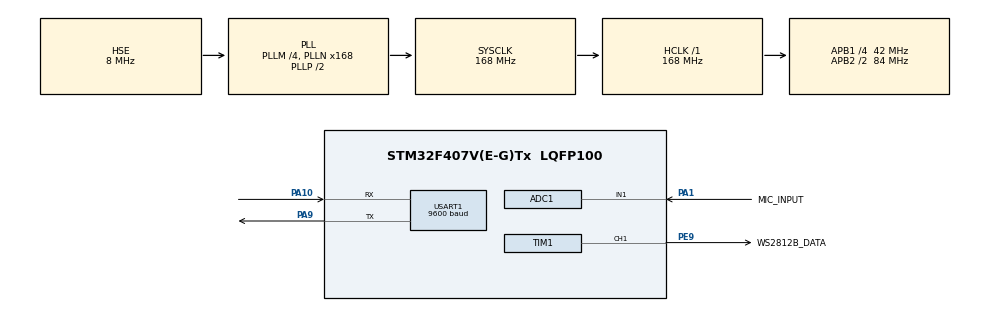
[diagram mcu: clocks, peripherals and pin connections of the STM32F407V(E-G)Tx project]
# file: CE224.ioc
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ADC1.Channel-0\#ChannelRegularConversion=ADC_CHANNEL_1
ADC1.NbrOfConversion=1
ADC1.NbrOfConversionFlag=1
ADC1.Rank-0\#ChannelRegularConversion=1
ADC1.SamplingTime-0\#ChannelRegularConversion=ADC_SAMPLETIME_15CYCLES
ADC1.master=1
Dma.ADC1.0.Direction=DMA_PERIPH_TO_MEMORY
Dma.ADC1.0.FIFOMode=DMA_FIFOMODE_DISABLE
Dma.ADC1.0.Instance=DMA2_Stream0
Dma.ADC1.0.MemDataAlignment=DMA_MDATAALIGN_HALFWORD
Dma.ADC1.0.MemInc=DMA_MINC_ENABLE
Dma.ADC1.0.Mode=DMA_CIRCULAR
Dma.ADC1.0.PeriphDataAlignment=DMA_PDATAALIGN_HALFWORD
Dma.ADC1.0.PeriphInc=DMA_PINC_DISABLE
Dma.ADC1.0.Priority=DMA_PRIORITY_LOW
Dma.Request0=ADC1
Dma.Request1=TIM1_CH1
Dma.Request2=USART1_TX
Dma.TIM1_CH1.1.Direction=DMA_MEMORY_TO_PERIPH
Dma.TIM1_CH1.1.FIFOMode=DMA_FIFOMODE_DISABLE
Dma.TIM1_CH1.1.Instance=DMA2_Stream1
Dma.TIM1_CH1.1.MemDataAlignment=DMA_MDATAALIGN_WORD
Dma.TIM1_CH1.1.MemInc=DMA_MINC_ENABLE
Dma.TIM1_CH1.1.Mode=DMA_NORMAL
Dma.TIM1_CH1.1.PeriphDataAlignment=DMA_PDATAALIGN_WORD
Dma.TIM1_CH1.1.PeriphInc=DMA_PINC_DISABLE
Dma.TIM1_CH1.1.Priority=DMA_PRIORITY_LOW
Dma.USART1_TX.2.Direction=DMA_MEMORY_TO_PERIPH
Dma.USART1_TX.2.FIFOMode=DMA_FIFOMODE_DISABLE
Dma.USART1_TX.2.Instance=DMA2_Stream7
Dma.USART1_TX.2.MemDataAlignment=DMA_MDATAALIGN_BYTE
Dma.USART1_TX.2.MemInc=DMA_MINC_ENABLE
Dma.USART1_TX.2.Mode=DMA_NORMAL
Dma.USART1_TX.2.PeriphDataAlignment=DMA_PDATAALIGN_BYTE
Dma.USART1_TX.2.PeriphInc=DMA_PINC_DISABLE
Dma.USART1_TX.2.Priority=DMA_PRIORITY_HIGH
Mcu.Family=STM32F4
Mcu.Name=STM32F407V(E-G)Tx
Mcu.Package=LQFP100
NVIC.ADC_IRQn=true\:0\:0\:false\:false\:true\:true\:true\:true
NVIC.DMA2_Stream0_IRQn=true\:0\:0\:false\:false\:true\:false\:true\:true
NVIC.DMA2_Stream1_IRQn=true\:0\:0\:false\:false\:true\:false\:true\:true
NVIC.DMA2_Stream7_IRQn=true\:0\:0\:false\:false\:true\:false\:true\:true
NVIC.PriorityGroup=NVIC_PRIORITYGROUP_4
NVIC.USART1_IRQn=true\:0\:0\:false\:false\:true\:true\:true\:true
PA1.GPIO_Label=MIC_INPUT
PA1.Signal=ADCx_IN1
PA10.Mode=Asynchronous
PA10.Signal=USART1_RX
PA13.Mode=Serial_Wire
PA13.Signal=SYS_JTMS-SWDIO
PA14.Mode=Serial_Wire
PA14.Signal=SYS_JTCK-SWCLK
PA9.Mode=Asynchronous
PA9.Signal=USART1_TX
PE9.GPIO_Label=WS2812B_DATA
PE9.Signal=S_TIM1_CH1
PH0-OSC_IN.Mode=HSE-External-Oscillator
PH0-OSC_IN.Signal=RCC_OSC_IN
PH1-OSC_OUT.Mode=HSE-External-Oscillator
PH1-OSC_OUT.Signal=RCC_OSC_OUT
ProjectManager.HeapSize=0x200
ProjectManager.StackSize=0x400
ProjectManager.TargetToolchain=STM32CubeIDE
RCC.48MHZClocksFreq_Value=84000000
RCC.AHBFreq_Value=168000000
RCC.APB1CLKDivider=RCC_HCLK_DIV4
RCC.APB1Freq_Value=42000000
RCC.APB1TimFreq_Value=84000000
RCC.APB2CLKDivider=RCC_HCLK_DIV2
RCC.APB2Freq_Value=84000000
RCC.APB2TimFreq_Value=168000000
RCC.CortexFreq_Value=168000000
RCC.HCLKFreq_Value=168000000
RCC.HSE_VALUE=8000000
RCC.HSI_VALUE=16000000
RCC.LSE_VALUE=32768
RCC.PLLM=4
RCC.PLLN=168
RCC.PLLSourceVirtual=RCC_PLLSOURCE_HSE
RCC.SYSCLKFreq_VALUE=168000000
RCC.SYSCLKSource=RCC_SYSCLKSOURCE_PLLCLK
RCC.VCOOutputFreq_Value=336000000
SH.ADCx_IN1.0=ADC1_IN1,IN1
SH.S_TIM1_CH1.0=TIM1_CH1,PWM Generation1 CH1
TIM1.Channel-PWM\ Generation1\ CH1=TIM_CHANNEL_1
TIM1.Period=209
USART1.BaudRate=9600
USART1.VirtualMode=VM_ASYNC
VP_TIM1_VS_ClockSourceINT.Mode=Internal
board=custom

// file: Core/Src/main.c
/* USER CODE BEGIN Header */
/**
  ******************************************************************************
  * @file           : main.c
  * @brief          : Audio Visualizer v2 - Sửa lỗi mất cảm biến âm thanh
  ******************************************************************************
  */
/* USER CODE END Header */

#include "main.h"
#include <string.h>
#include <math.h>
#include <stdlib.h>
#include <usart.h>

/* USER CODE BEGIN PD */
#define NUMPIXELS 60
#define LED_DATA_SIZE (NUMPIXELS * 24)
#define RESET_SLOTS_BEGIN (50)
#define RESET_SLOTS_END (50)
#define WS2812_FREQ (800000) // 800khz
#define TIMER_CLOCK_FREQ (168000000) // 168MHz for TIM1 (APB2)
#define TIMER_PERIOD ((TIMER_CLOCK_FREQ / WS2812_FREQ) - 1)

#define NUM_EFFECTS 4

// LED Visualizer
#define LED_DATA_HEADER 0xAA
#define LED_DATA_FOOTER 0x55
#define SEND_LED_DATA_INTERVAL 20
/* USER CODE END PD */

extern ADC_HandleTypeDef hadc1;
extern DMA_HandleTypeDef hdma_adc1;

extern TIM_HandleTypeDef htim1;
extern DMA_HandleTypeDef hdma_tim1_ch1;

/* USER CODE BEGIN PV */
// LED Data Buffer
uint32_t LED_Data[LED_DATA_SIZE + RESET_SLOTS_BEGIN + RESET_SLOTS_END];
uint32_t LED_Mod[LED_DATA_SIZE + RESET_SLOTS_BEGIN + RESET_SLOTS_END];

// Audio processing variables
int thresholdOffset = 150;
int maxIntensityRange = 700;
int smoothedLevel = 0;
uint32_t lastBeatTime = 0;

// WS2812B timing
uint32_t pwmData_0;
uint32_t pwmData_1;

// Effect management
int currentEffect = 0;

typedef struct {
    int position;
    float brightness;
    int active;
    int colorType;
} WaveData;

#define MAX_WAVES 15
WaveData audioWaves[MAX_WAVES];
int audioWaveIndex = 0;

// Effect 3 - Center pulse variables
int centerPulseIntensity = 0;

// Effect 4 - Color temperature variables
int colorTemperature = 0;

// --- BIẾN BLUETOOTH ---
#define RX_BUFFER_SIZE 32
uint8_t rx_buffer[RX_BUFFER_SIZE];
uint8_t rx_index = 0;
volatile uint8_t rx_data;
volatile uint8_t command_received = 0;
char command_buffer[RX_BUFFER_SIZE];

// --- BIẾN CHO MANUAL BEAT ---
WaveData manualWaves[MAX_WAVES];
int manualWaveIndex = 0;
volatile uint8_t manualBeatTrigger = 0;
volatile uint8_t manualRainbowTrigger = 0;

// LED Visualizer
uint8_t LED_RGB_Buffer[NUMPIXELS * 3];
uint32_t lastSendTime = 0;
uint8_t uart_tx_buffer[183];
volatile uint8_t uart_tx_busy = 0;

/* USER CODE END PV */

void SystemClock_Config(void);
static void MX_GPIO_Init(void);
static void MX_DMA_Init(void);
static void MX_ADC1_Init(void);
static void MX_TIM1_Init(void);
extern void MX_USART1_UART_Init(void);

/* USER CODE BEGIN PFP */
void WS2812_Send(void);
void Set_LED(int LEDnum, int Red, int Green, int Blue);
void Reset_LED(void);
void WS2812_Init(void);
uint32_t millis(void);
void delay_ms(uint32_t ms);
int analogRead(void);
uint32_t pause_sending_until = 0;
uint32_t allow_send_time = 0;
// Effect functions
void effect1_ProgressiveBar(int intensity);
void effect2_WaveEffect(int intensity);
void effect3_CenterPulse(int intensity);
void effect4_ColorTemperature(int intensity);
void HSVtoRGB(float h, float s, float v, int* r, int* g, int* b);
void getWaveColor(int colorType, int brightness, int* r, int* g, int* b);

void addAudioWave(int intensity);
void updateAudioWaves(void);

void addManualBeatWave(void);
void addManualRainbowWave(void);
void updateManualWaves(void);
void drawManualWaves_Overlay(void);
void getRainbowColor(float fraction, int brightness, int* r, int* g, int* b);

void Process_Bluetooth_Command(void);
void Send_LED_Data_To_App(void);
/* USER CODE END PFP */

/* USER CODE BEGIN 0 */

volatile uint32_t uwTick_ms = 0;

uint32_t millis(void) {
    return uwTick_ms;
}

void delay_ms(uint32_t ms) {
    uint32_t start = millis();
    while ((millis() - start) < ms) { }
}

int analogRead(void) {
    HAL_ADC_Start(&hadc1);
    HAL_ADC_PollForConversion(&hadc1, HAL_MAX_DELAY);
    uint16_t value = HAL_ADC_GetValue(&hadc1);
    HAL_ADC_Stop(&hadc1);
    return (int)value;
}

void WS2812_Init(void) {
    pwmData_0 = (uint32_t)(TIMER_PERIOD * 0.32);
    pwmData_1 = (uint32_t)(TIMER_PERIOD * 0.64);

    for (int i = 0; i < RESET_SLOTS_BEGIN; i++) LED_Data[i] = 0;
    for (int i = LED_DATA_SIZE + RESET_SLOTS_BEGIN; i < LED_DATA_SIZE + RESET_SLOTS_BEGIN + RESET_SLOTS_END; i++) LED_Data[i] = 0;

    for (int i = 0; i < MAX_WAVES; i++) {
        audioWaves[i].active = 0;
        manualWaves[i].active = 0;
    }
    memset(LED_RGB_Buffer, 0, sizeof(LED_RGB_Buffer));
}

void Set_LED(int LEDnum, int Red, int Green, int Blue) {
    if (LEDnum >= NUMPIXELS || LEDnum < 0) return;

    // Update LED_RGB_Buffer for app
    int bufferIndex = LEDnum * 3;
    LED_RGB_Buffer[bufferIndex] = Red;
    LED_RGB_Buffer[bufferIndex + 1] = Green;
    LED_RGB_Buffer[bufferIndex + 2] = Blue;

    uint8_t color[3] = {Green, Red, Blue};
    int bit_pos_start = RESET_SLOTS_BEGIN + LEDnum * 24;

    for (int i = 0; i < 3; i++) {
        for (int j = 0; j < 8; j++) {
            int bit_pos = bit_pos_start + i * 8 + j;
            if (color[i] & (1 << (7 - j))) {
                LED_Data[bit_pos] = pwmData_1;
            } else {
                LED_Data[bit_pos] = pwmData_0;
            }
        }
    }
}
/* Tìm đến hàm Reset_LED và sửa lại như sau */

void Reset_LED(void) {
    // 1. Xóa dữ liệu LED vật lý (Code cũ của bạn)
    for (int i = RESET_SLOTS_BEGIN; i < LED_DATA_SIZE + RESET_SLOTS_BEGIN; i++) {
        LED_Data[i] = pwmData_0;
    }

    // 2. THÊM DÒNG NÀY: Xóa dữ liệu gửi lên App (Reset mảng về 0)
    memset(LED_RGB_Buffer, 0, sizeof(LED_RGB_Buffer));
}

void WS2812_Send(void) {
    HAL_TIM_PWM_Start_DMA(&htim1, TIM_CHANNEL_1, (uint32_t *)LED_Data,
                          LED_DATA_SIZE + RESET_SLOTS_BEGIN + RESET_SLOTS_END);

    while (htim1.hdma[TIM_DMA_ID_CC1]->State != HAL_DMA_STATE_READY) { }

    HAL_TIM_PWM_Stop_DMA(&htim1, TIM_CHANNEL_1);
}

/* Thay thế hàm cũ trong main.c */
void Send_LED_Data_To_App(void) {
    // 1. Kiểm tra cơ bản
    if (uart_tx_busy) return;
    if (millis() < allow_send_time) return;

    // 2. Rate limiting: 40ms = 25Hz (giảm từ 20ms để ổn định hơn)
    uint32_t currentTime = millis();
    if ((currentTime - lastSendTime) < 40) return;
    lastSendTime = currentTime;

    // 3. Kiểm tra UART state trước khi gửi
    if (huart1.gState != HAL_UART_STATE_READY) {
        return; // UART chưa sẵn sàng, bỏ qua frame này
    }

    // 4. Đóng gói dữ liệu
    uart_tx_buffer[0] = LED_DATA_HEADER;
    uart_tx_buffer[1] = LED_DATA_HEADER;
    memcpy(&uart_tx_buffer[2], LED_RGB_Buffer, NUMPIXELS * 3);
    uart_tx_buffer[182] = LED_DATA_FOOTER;

    // 5. Gửi
    uart_tx_busy = 1;
    if (HAL_UART_Transmit_IT(&huart1, uart_tx_buffer, 183) != HAL_OK) {
        uart_tx_busy = 0; // Nếu lỗi, phải nhả cờ
    }
}
void Reset_LED_Visualizer_State(void) {
    // 1. Dừng việc gửi dữ liệu tạm thời
    uart_tx_busy = 1;

    // 2. Chờ UART TX hoàn tất (timeout 10ms)
    uint32_t timeout = millis() + 10;
    while (huart1.gState == HAL_UART_STATE_BUSY_TX && millis() < timeout) {
        HAL_Delay(1);
    }

    // 3. Abort UART TX nếu vẫn còn busy
    if (huart1.gState == HAL_UART_STATE_BUSY_TX) {
        HAL_UART_AbortTransmit(&huart1);
    }

    // 4. Xóa toàn bộ buffer LED RGB (dữ liệu gửi lên app)
    memset(LED_RGB_Buffer, 0, sizeof(LED_RGB_Buffer));

    // 5. Xóa buffer UART TX
    memset(uart_tx_buffer, 0, sizeof(uart_tx_buffer));

    // 6. Reset timestamp để force gửi ngay lập tức
    lastSendTime = 0;

    // 7. Cho phép gửi lại
    uart_tx_busy = 0;

    // 8. Gửi 1 gói "all black" để reset màn hình app
    uart_tx_buffer[0] = LED_DATA_HEADER;
    uart_tx_buffer[1] = LED_DATA_HEADER;
    // bytes 2-181 đã là 0 rồi (từ memset)
    uart_tx_buffer[182] = LED_DATA_FOOTER;

    uart_tx_busy = 1;
    HAL_UART_Transmit_IT(&huart1, uart_tx_buffer, 183);
}
void Process_Bluetooth_Command(void) {
    if (command_received) {
        if (strcmp(command_buffer, "#B") == 0) {
            manualBeatTrigger = 1;
        }
        else if (strcmp(command_buffer, "#R") == 0) {
            manualRainbowTrigger = 1;
        }
        // ===== LỆNH RE-CALIBRATE MỚI =====
        else if (strcmp(command_buffer, "#C") == 0) {
            // Re-calibrate cảm biến âm thanh
            int minVal = 4095, maxVal = 0;

            // Tắt tất cả LED trước khi calibrate
            Reset_LED();
            WS2812_Send();

            // Đọc 200 mẫu trong 2 giây (10ms mỗi mẫu)
            for(int i = 0; i < 200; i++) {
                int reading = analogRead();
                if(reading < minVal) minVal = reading;
                if(reading > maxVal) maxVal = reading;
                HAL_Delay(10);
            }

            // Tính lại threshold dựa trên mức nhiễu đo được
            int noise_level = maxVal - minVal;
            thresholdOffset = noise_level + 150;

            // Reset các biến xử lý audio về trạng thái ban đầu
            smoothedLevel = 0;
            lastBeatTime = 0;

            // Hiển thị feedback bằng LED - Flash màu xanh lá 3 lần
            for(int i = 0; i < 3; i++) {
                // Bật tất cả LED màu xanh
                for(int j = 0; j < NUMPIXELS; j++) {
                    Set_LED(j, 0, 255, 0);  // Green
                }
                WS2812_Send();
                HAL_Delay(200);

                // Tắt LED
                Reset_LED();
                WS2812_Send();
                HAL_Delay(200);
            }
        }
        // Xử lý lệnh chọn hiệu ứng
        else if (command_buffer[0] == '#') {
            int effect_num = atoi(&command_buffer[1]);
            if (effect_num >= 1 && effect_num <= NUM_EFFECTS) {
                // ===== THÊM ĐOẠN NÀY =====
                int oldEffect = currentEffect;
                currentEffect = effect_num - 1;

                // Chỉ reset nếu THỰC SỰ đổi effect (tránh reset vô ích)
                if (oldEffect != currentEffect) {
                    Reset_LED_Visualizer_State();

                    // Reset các biến effect cũ
                    if (currentEffect == 1) { // Wave effect
                        for (int i = 0; i < MAX_WAVES; i++) {
                            audioWaves[i].active = 0;
                            manualWaves[i].active = 0;
                        }
                    }

                    // Reset LED vật lý
                    Reset_LED();
                    WS2812_Send();

                    // Delay nhỏ để app kịp nhận gói "all black"
                    HAL_Delay(50);
                }
                // ===== HẾT ĐOẠN THÊM =====
            }
        }

        command_received = 0;
        memset(command_buffer, 0, RX_BUFFER_SIZE);
    }
}

/* --- CÁC HÀM HIỆU ỨNG --- */

// --- (SỬA LỖI) Xóa Reset_LED() ---
void effect1_ProgressiveBar(int intensity) {
    // Reset_LED(); // <- ĐÃ XÓA
    int ledCount = (intensity * NUMPIXELS) / maxIntensityRange;
    if (ledCount > NUMPIXELS) ledCount = NUMPIXELS;
    for (int i = 0; i < ledCount; i++) {
        if (i < 10) Set_LED(i, 255, 0, 0);
        else if (i < 20) Set_LED(i, 255, 100, 0);
        else if (i < 30) Set_LED(i, 255, 255, 0);
        else if (i < 40) Set_LED(i, 0, 255, 0);
        else if (i < 50) Set_LED(i, 0, 100, 255);
        else Set_LED(i, 150, 0, 255);
    }
}

// Hàm getWaveColor giữ nguyên
void getWaveColor(int colorType, int brightness, int* r, int* g, int* b) {
    switch(colorType) {
        case 0: *r = 0; *g = 0; *b = brightness; break;
        case 1: *r = 0; *g = brightness; *b = brightness; break;
        case 2: *r = 0; *g = brightness; *b = 0; break;
        case 3: *r = brightness; *g = brightness; *b = 0; break;
        case 4: *r = brightness; *g = brightness / 2; *b = 0; break;
        case 5: *r = brightness; *g = 0; *b = 0; break;
        case 6: *r = brightness; *g = 0; *b = brightness; break;
        case 7: *r = brightness; *g = brightness; *b = brightness; break;
        case 8: *r = 255; *g = 255; *b = 255; break; // Placeholder
        default: *r = brightness; *g = brightness; *b = brightness; break;
    }
}

// addAudioWave (Giữ nguyên)
void addAudioWave(int intensity) {
    audioWaves[audioWaveIndex].active = 1;
    audioWaves[audioWaveIndex].position = 0;
    audioWaves[audioWaveIndex].brightness = 255.0f;

    int intensityLevel = (intensity * 8) / maxIntensityRange;
    if (intensityLevel > 7) intensityLevel = 7;
    audioWaves[audioWaveIndex].colorType = intensityLevel;

    audioWaveIndex = (audioWaveIndex + 1) % MAX_WAVES;
}

// updateAudioWaves (Giữ nguyên)
void updateAudioWaves(void) {
    for (int i = 0; i < MAX_WAVES; i++) {
        if (audioWaves[i].active) {
            audioWaves[i].position += 2;
            audioWaves[i].brightness *= 0.95f;

            if (audioWaves[i].position >= NUMPIXELS || audioWaves[i].brightness < 10.0f) {
                audioWaves[i].active = 0;
            }
        }
    }
}

// effect2_WaveEffect (Giữ nguyên, vốn đã không có Reset_LED)
void effect2_WaveEffect(int intensity) {
    static uint32_t lastWaveTime = 0;
    static int lastIntensity = 0;

    // 1. Thêm sóng âm thanh mới nếu có beat
    if (intensity > thresholdOffset &&
        (millis() - lastWaveTime) > 80 &&
        intensity > (lastIntensity + 20)) {

        addAudioWave(intensity - thresholdOffset);
        lastWaveTime = millis();
        lastIntensity = intensity;
    }

    if ((millis() - lastWaveTime) > 200) {
        lastIntensity = lastIntensity * 0.8;
    }

    // 2. Cập nhật vị trí và độ sáng sóng âm thanh
    updateAudioWaves();

    // 3. Vẽ sóng âm thanh
    for (int i = 0; i < MAX_WAVES; i++) {
        if (audioWaves[i].active) {
            int pos = audioWaves[i].position;
            if (pos >= 0 && pos < NUMPIXELS) {
                int r, g, b;
                getWaveColor(audioWaves[i].colorType, (int)audioWaves[i].brightness, &r, &g, &b);
                Set_LED(pos, r, g, b);
            }
        }
    }
}

// --- CÁC HÀM CHO SÓNG THỦ CÔNG (Giữ nguyên) ---

void addManualBeatWave(void) {
    manualWaves[manualWaveIndex].active = 1;
    manualWaves[manualWaveIndex].position = 0;
    manualWaves[manualWaveIndex].brightness = 255.0f;
    manualWaves[manualWaveIndex].colorType = rand() % 8;
    manualWaveIndex = (manualWaveIndex + 1) % MAX_WAVES;
}

void addManualRainbowWave(void) {
    manualWaves[manualWaveIndex].active = 1;
    manualWaves[manualWaveIndex].position = 0;
    manualWaves[manualWaveIndex].brightness = 255.0f;
    manualWaves[manualWaveIndex].colorType = 8;
    manualWaveIndex = (manualWaveIndex + 1) % MAX_WAVES;
}

void updateManualWaves(void) {
    for (int i = 0; i < MAX_WAVES; i++) {
        if (manualWaves[i].active) {
            manualWaves[i].position += 1;

            if (manualWaves[i].colorType == 8) {
                 manualWaves[i].brightness *= 0.98f;
            } else {
                 manualWaves[i].brightness *= 0.96f;
            }

            int end_position = (manualWaves[i].colorType == 8) ? (NUMPIXELS + 20) : NUMPIXELS;

            if (manualWaves[i].position >= end_position || manualWaves[i].brightness < 10.0f) {
                manualWaves[i].active = 0;
            }
        }
    }
}

void getRainbowColor(float fraction, int brightness, int* r, int* g, int* b) {
    float hue = fraction * 360.0f;
    float sat = 1.0f;
    float val = (float)brightness / 255.0f;
    HSVtoRGB(hue, sat, val, r, g, b);
}

void drawManualWaves_Overlay(void) {
    for (int i = 0; i < MAX_WAVES; i++) {
        if (manualWaves[i].active) {
            int pos = manualWaves[i].position;
            int r, g, b;
            int brightness_int = (int)manualWaves[i].brightness;

            if (manualWaves[i].colorType == 8) {
                int rainbow_length = 20;
                for (int j = 0; j < rainbow_length; j++) {
                    int led_pos = pos - j;
                    if (led_pos >= 0 && led_pos < NUMPIXELS) {
                        float fraction = (float)j / (float)rainbow_length;
                        getRainbowColor(fraction, brightness_int, &r, &g, &b);
                        Set_LED(led_pos, r, g, b);
                    }
                }
            }
            else {
                if (pos >= 0 && pos < NUMPIXELS) {
                    getWaveColor(manualWaves[i].colorType, brightness_int, &r, &g, &b);
                    Set_LED(pos, r, g, b);
                    if(pos > 0) Set_LED(pos-1, r/2, g/2, b/2);
                    if(pos > 1) Set_LED(pos-2, r/4, g/4, b/4);
                }
            }
        }
    }
}

// --- (SỬA LỖI) Xóa Reset_LED() ---
void effect3_CenterPulse(int intensity) {
    // Reset_LED(); // <- ĐÃ XÓA
    if (intensity > thresholdOffset) {
        centerPulseIntensity = intensity - thresholdOffset;
    } else {
        centerPulseIntensity = centerPulseIntensity * 0.9;
    }
    int center = NUMPIXELS / 2;
    int spread = (centerPulseIntensity * center) / maxIntensityRange;
    for (int i = 0; i < spread; i++) {
        int brightness = 255 * (spread - i) / spread;
        if (center - i >= 0) Set_LED(center - i, brightness, 0, brightness);
        if (center + i < NUMPIXELS) Set_LED(center + i, brightness, 0, brightness);
    }
}

// HSVtoRGB (Giữ nguyên)
void HSVtoRGB(float h, float s, float v, int* r, int* g, int* b) {
    float c = v * s;
    float x = c * (1 - fabsf(fmodf(h / 60.0f, 2) - 1));
    float m = v - c;
    float r_f, g_f, b_f;
    if (h >= 0 && h < 60) { r_f = c; g_f = x; b_f = 0; }
    else if (h >= 60 && h < 120) { r_f = x; g_f = c; b_f = 0; }
    else if (h >= 120 && h < 180) { r_f = 0; g_f = c; b_f = x; }
    else if (h >= 180 && h < 240) { r_f = 0; g_f = x; b_f = c; }
    else if (h >= 240 && h < 300) { r_f = x; g_f = 0; b_f = c; }
    else { r_f = c; g_f = 0; b_f = x; }
    *r = (int)((r_f + m) * 255);
    *g = (int)((g_f + m) * 255);
    *b = (int)((b_f + m) * 255);
}

// --- (SỬA LỖI) Xóa Reset_LED() ---
void effect4_ColorTemperature(int intensity) {
    // Reset_LED(); // <- ĐÃ XÓA
    if (intensity > thresholdOffset) {
        colorTemperature = intensity - thresholdOffset;
    } else {
        colorTemperature = colorTemperature * 0.95;
    }
    float hue = 240 - (colorTemperature * 240.0f) / maxIntensityRange;
    if (hue < 0) hue = 0;
    float saturation = 1.0f;
    float brightness = (float)colorTemperature / maxIntensityRange;
    if (brightness > 1.0f) brightness = 1.0f;
    if (brightness < 0.1f) brightness = 0.1f;
    int r, g, b;
    HSVtoRGB(hue, saturation, brightness, &r, &g, &b);
    for (int i = 0; i < NUMPIXELS; i++) {
        Set_LED(i, r, g, b);
    }
}

/* USER CODE END 0 */

int main(void)
{
    HAL_Init();
    SystemClock_Config();
    MX_GPIO_Init();
    MX_DMA_Init();
    MX_ADC1_Init();
    MX_TIM1_Init();
    MX_USART1_UART_Init();

    /* USER CODE BEGIN 2 */

    HAL_UART_Receive_IT(&huart1, (uint8_t *)&rx_data, 1);
    WS2812_Init();
    Reset_LED();
    WS2812_Send();

    // Logic căn chỉnh độ nhạy tự động
    int minVal = 4095, maxVal = 0;
    for(int i = 0; i < 200; i++) {
        int reading = analogRead();
        if(reading < minVal) minVal = reading;
        if(reading > maxVal) maxVal = reading;
        delay_ms(10);
    }
    int noise_level = maxVal - minVal;
    thresholdOffset = noise_level + 150;

	// --- (THÊM MỚI) Thêm seed cho rand() để màu ngẫu nhiên hơn ---
    srand(thresholdOffset); // Dùng chính giá trị nhiễu để làm seed

    currentEffect = 0;
    /* USER CODE END 2 */

    /* Infinite loop */
    while (1)
    {
        // 1. Xử lý lệnh Bluetooth (nếu có)
        Process_Bluetooth_Command();

        // 2. Kiểm tra và kích hoạt sóng thủ công
        if (manualBeatTrigger) {
            addManualBeatWave();
            manualBeatTrigger = 0;
        }
        if (manualRainbowTrigger) {
            addManualRainbowWave();
            manualRainbowTrigger = 0;
        }

        // 3. Luôn cập nhật vị trí sóng thủ công
        updateManualWaves();

        // 4. Xử lý âm thanh
        int maxReading = 0, minReading = 4095;
        for(int i = 0; i < 10; i++) {
            int reading = analogRead();
            if(reading > maxReading) maxReading = reading;
            if(reading < minReading) minReading = reading;
            HAL_Delay(1);
        }
        int amplitude = maxReading - minReading;
        if (amplitude < 80) {
                    amplitude = 0;
                }
        smoothedLevel = (smoothedLevel * 7 + amplitude * 3) / 10;

        int dynamicThreshold = thresholdOffset;
        int intensity = 0;
        if (smoothedLevel > dynamicThreshold) {
            intensity = smoothedLevel - dynamicThreshold;
            lastBeatTime = millis();
        }

        // 5. Chạy hiệu ứng

        // --- Reset LED TẠI ĐÂY (CHỈ 1 LẦN) ---
        Reset_LED();

        switch (currentEffect) {
            case 0:
                effect1_ProgressiveBar(smoothedLevel > dynamicThreshold ? intensity : 0);
                break;
            case 1:
                // Vẽ sóng âm thanh
                effect2_WaveEffect(smoothedLevel);
                // Vẽ đè sóng thủ công lên
                drawManualWaves_Overlay();
                break;
            case 2:
                effect3_CenterPulse(smoothedLevel);
                break;
            case 3:
                effect4_ColorTemperature(smoothedLevel);
                break;
        }

        // 6. Gửi dữ liệu ra LED
        WS2812_Send();
        Send_LED_Data_To_App();  // Bật nếu muốn LED ảo trên app
        delay_ms(20);
    }
}

/* ... (Phần còn lại của file: SystemClock_Config, MX_..._Init, Error_Handler, ...) ... */
/* ... (GIỮ NGUYÊN) ... */

void SystemClock_Config(void)
{
    RCC_OscInitTypeDef RCC_OscInitStruct = {0};
    RCC_ClkInitTypeDef RCC_ClkInitStruct = {0};

    /** Configure the main internal regulator output voltage
    */
    __HAL_RCC_PWR_CLK_ENABLE();
    __HAL_PWR_VOLTAGESCALING_CONFIG(PWR_REGULATOR_VOLTAGE_SCALE1);

    /** Initializes the RCC Oscillators according to the specified parameters
    * in the RCC_OscInitTypeDef structure.
    */
    RCC_OscInitStruct.OscillatorType = RCC_OSCILLATORTYPE_HSE;
    RCC_OscInitStruct.HSEState = RCC_HSE_ON;
    RCC_OscInitStruct.PLL.PLLState = RCC_PLL_ON;
    RCC_OscInitStruct.PLL.PLLSource = RCC_PLLSOURCE_HSE;
    RCC_OscInitStruct.PLL.PLLM = 4;
    RCC_OscInitStruct.PLL.PLLN = 168;
    RCC_OscInitStruct.PLL.PLLP = RCC_PLLP_DIV2;
    RCC_OscInitStruct.PLL.PLLQ = 4;
    if (HAL_RCC_OscConfig(&RCC_OscInitStruct) != HAL_OK)
    {
        Error_Handler();
    }

    /** Initializes the CPU, AHB and APB buses clocks
    */
    RCC_ClkInitStruct.ClockType = RCC_CLOCKTYPE_HCLK|RCC_CLOCKTYPE_SYSCLK
                                |RCC_CLOCKTYPE_PCLK1|RCC_CLOCKTYPE_PCLK2;
    RCC_ClkInitStruct.SYSCLKSource = RCC_SYSCLKSOURCE_PLLCLK;
    RCC_ClkInitStruct.AHBCLKDivider = RCC_SYSCLK_DIV1;
    RCC_ClkInitStruct.APB1CLKDivider = RCC_HCLK_DIV4;
    RCC_ClkInitStruct.APB2CLKDivider = RCC_HCLK_DIV2;

    if (HAL_RCC_ClockConfig(&RCC_ClkInitStruct, FLASH_LATENCY_5) != HAL_OK)
    {
        Error_Handler();
    }
}

static void MX_ADC1_Init(void)
{

    ADC_ChannelConfTypeDef sConfig = {0};

    /** Configure the global features of the ADC (Clock, Resolution, Data Alignment and number of conversion)
    */
    hadc1.Instance = ADC1;
    hadc1.Init.ClockPrescaler = ADC_CLOCK_SYNC_PCLK_DIV4;
    hadc1.Init.Resolution = ADC_RESOLUTION_12B;
    hadc1.Init.ScanConvMode = DISABLE;
    hadc1.Init.ContinuousConvMode = DISABLE;
    hadc1.Init.DiscontinuousConvMode = DISABLE;
    hadc1.Init.ExternalTrigConvEdge = ADC_EXTERNALTRIGCONVEDGE_NONE;
    hadc1.Init.ExternalTrigConv = ADC_SOFTWARE_START;
    hadc1.Init.DataAlign = ADC_DATAALIGN_RIGHT;
    hadc1.Init.NbrOfConversion = 1;
    hadc1.Init.DMAContinuousRequests = DISABLE;
    hadc1.Init.EOCSelection = ADC_EOC_SINGLE_CONV;
    if (HAL_ADC_Init(&hadc1) != HAL_OK)
    {
        Error_Handler();
    }

    /** Configure for the selected ADC regular channel its corresponding rank in the sequencer and its sample time.
    */
    sConfig.Channel = ADC_CHANNEL_1; // PA1
    sConfig.Rank = 1;
    sConfig.SamplingTime = ADC_SAMPLETIME_15CYCLES; // Increased sampling time
    if (HAL_ADC_ConfigChannel(&hadc1, &sConfig) != HAL_OK)
    {
        Error_Handler();
    }
}

static void MX_TIM1_Init(void)
{

    TIM_ClockConfigTypeDef sClockSourceConfig = {0};
    TIM_MasterConfigTypeDef sMasterConfig = {0};
    TIM_OC_InitTypeDef sConfigOC = {0};
    TIM_BreakDeadTimeConfigTypeDef sBreakDeadTimeConfig = {0};

    htim1.Instance = TIM1;
    htim1.Init.Prescaler = 0;
    htim1.Init.CounterMode = TIM_COUNTERMODE_UP;
    htim1.Init.Period = TIMER_PERIOD;
    htim1.Init.ClockDivision = TIM_CLOCKDIVISION_DIV1;
    htim1.Init.RepetitionCounter = 0;
    htim1.Init.AutoReloadPreload = TIM_AUTORELOAD_PRELOAD_DISABLE;
    if (HAL_TIM_Base_Init(&htim1) != HAL_OK)
    {
        Error_Handler();
    }
    sClockSourceConfig.ClockSource = TIM_CLOCKSOURCE_INTERNAL;
    if (HAL_TIM_ConfigClockSource(&htim1, &sClockSourceConfig) != HAL_OK)
    {
        Error_Handler();
    }
    if (HAL_TIM_PWM_Init(&htim1) != HAL_OK)
    {
        Error_Handler();
    }
    sMasterConfig.MasterOutputTrigger = TIM_TRGO_RESET;
    sMasterConfig.MasterSlaveMode = TIM_MASTERSLAVEMODE_DISABLE;
    if (HAL_TIMEx_MasterConfigSynchronization(&htim1, &sMasterConfig) != HAL_OK)
    {
        Error_Handler();
    }
    sConfigOC.OCMode = TIM_OCMODE_PWM1;
    sConfigOC.Pulse = 0;
    sConfigOC.OCPolarity = TIM_OCPOLARITY_HIGH;
    sConfigOC.OCNPolarity = TIM_OCNPOLARITY_HIGH;
    sConfigOC.OCFastMode = TIM_OCFAST_DISABLE;
    sConfigOC.OCIdleState = TIM_OCIDLESTATE_RESET;
    sConfigOC.OCNIdleState = TIM_OCNIDLESTATE_RESET;
    if (HAL_TIM_PWM_ConfigChannel(&htim1, &sConfigOC, TIM_CHANNEL_1) != HAL_OK)
    {
        Error_Handler();
    }
    sBreakDeadTimeConfig.OffStateRunMode = TIM_OSSR_DISABLE;
    sBreakDeadTimeConfig.OffStateIDLEMode = TIM_OSSI_DISABLE;
    sBreakDeadTimeConfig.LockLevel = TIM_LOCKLEVEL_OFF;
    sBreakDeadTimeConfig.DeadTime = 0;
    sBreakDeadTimeConfig.BreakState = TIM_BREAK_DISABLE;
    sBreakDeadTimeConfig.BreakPolarity = TIM_BREAKPOLARITY_HIGH;
    sBreakDeadTimeConfig.AutomaticOutput = TIM_AUTOMATICOUTPUT_DISABLE;
    if (HAL_TIMEx_ConfigBreakDeadTime(&htim1, &sBreakDeadTimeConfig) != HAL_OK)
    {
        Error_Handler();
    }
    HAL_TIM_MspPostInit(&htim1);
}

static void MX_DMA_Init(void)
{
    /* DMA controller clock enable */
    __HAL_RCC_DMA1_CLK_ENABLE();
    __HAL_RCC_DMA2_CLK_ENABLE();

    /* DMA interrupt init */
    /* DMA1_Stream5_IRQn interrupt configuration */
    HAL_NVIC_SetPriority(DMA1_Stream5_IRQn, 0, 0);
    HAL_NVIC_EnableIRQ(DMA1_Stream5_IRQn);
    /* DMA2_Stream0_IRQn interrupt configuration */
    HAL_NVIC_SetPriority(DMA2_Stream0_IRQn, 0, 0);
    HAL_NVIC_EnableIRQ(DMA2_Stream0_IRQn);
    /* DMA2_Stream1_IRQn interrupt configuration */
    HAL_NVIC_SetPriority(DMA2_Stream1_IRQn, 0, 0);
    HAL_NVIC_EnableIRQ(DMA2_Stream1_IRQn);
}

static void MX_GPIO_Init(void)
{
    /* GPIO Ports Clock Enable */
    __HAL_RCC_GPIOH_CLK_ENABLE();
    __HAL_RCC_GPIOA_CLK_ENABLE();
    __HAL_RCC_GPIOB_CLK_ENABLE();
    __HAL_RCC_GPIOE_CLK_ENABLE(); // Added for PE9
}

/* USER CODE BEGIN 4 */

// --- HÀM UART RX CALLBACK (Giữ nguyên) ---
void HAL_UART_RxCpltCallback(UART_HandleTypeDef *huart) {
    if (huart->Instance == USART1) {

        if (rx_data == ';') {
            if (rx_index < RX_BUFFER_SIZE - 1) {
                rx_buffer[rx_index] = '\0';
                strcpy(command_buffer, (char*)rx_buffer);
                command_received = 1;
                rx_index = 0;
                memset(rx_buffer, 0, RX_BUFFER_SIZE);
            } else {
                rx_index = 0;
                memset(rx_buffer, 0, RX_BUFFER_SIZE);
            }
        }
        else if (rx_data == '\r' || rx_data == '\n') {
            // Bỏ qua
        }
        else {
            if (rx_index < RX_BUFFER_SIZE - 1) {
                rx_buffer[rx_index++] = rx_data;
            }
        }
        HAL_UART_Receive_IT(&huart1, (uint8_t *)&rx_data, 1);
    }
}

void HAL_UART_TxCpltCallback(UART_HandleTypeDef *huart) {
    if (huart->Instance == USART1) {
        uart_tx_busy = 0;
    }
}
// Override SysTick handler (Giữ nguyên)
void HAL_IncTick(void) {
    uwTick += 1U;
    uwTick_ms += 1U;
}

/* USER CODE END 4 */

void Error_Handler(void)
{
    __disable_irq();
    while (1)
    {
    }
}
